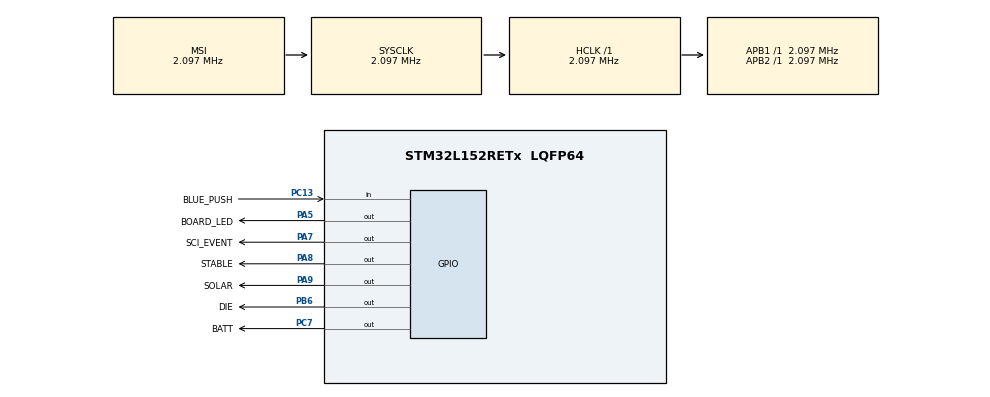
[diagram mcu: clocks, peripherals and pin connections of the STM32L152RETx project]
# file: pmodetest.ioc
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Mcu.Family=STM32L1
Mcu.Name=STM32L152RETx
Mcu.Package=LQFP64
NVIC.PriorityGroup=NVIC_PRIORITYGROUP_4
PA5.GPIO_Label=BOARD_LED
PA5.Signal=GPIO_Output
PA7.GPIO_Label=SCI_EVENT
PA7.Signal=GPIO_Output
PA8.GPIO_Label=STABLE
PA8.Signal=GPIO_Output
PA9.GPIO_Label=SOLAR
PA9.Signal=GPIO_Output
PB6.GPIO_Label=DIE
PB6.Signal=GPIO_Output
PC13-WKUP2.GPIO_Label=BLUE_PUSH
PC13-WKUP2.Signal=GPIO_Input
PC7.GPIO_Label=BATT
PC7.Signal=GPIO_Output
ProjectManager.HeapSize=0x200
ProjectManager.StackSize=0x400
ProjectManager.TargetToolchain=MDK-ARM V5
RCC.AHBFreq_Value=2097000
RCC.APB1Freq_Value=2097000
RCC.APB2Freq_Value=2097000
RCC.HSE_VALUE=24000000
RCC.HSI_VALUE=16000000
RCC.LSE_VALUE=32768
RCC.MSI_VALUE=2097000
RCC.SYSCLKFreq_VALUE=2097000
RCC.VCOOutputFreq_Value=48000000
board=custom

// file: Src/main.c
/* USER CODE BEGIN Header */
/**
  ******************************************************************************
  * @file           : main.c
  * @brief          : Main program body
  ******************************************************************************
  ** This notice applies to any and all portions of this file
  * that are not between comment pairs USER CODE BEGIN and
  * USER CODE END. Other portions of this file, whether
  * inserted by the user or by software development tools
  * are owned by their respective copyright owners.
  *
  * COPYRIGHT(c) 2019 STMicroelectronics
  *
  * Redistribution and use in source and binary forms, with or without modification,
  * are permitted provided that the following conditions are met:
  *   1. Redistributions of source code must retain the above copyright notice,
  *      this list of conditions and the following disclaimer.
  *   2. Redistributions in binary form must reproduce the above copyright notice,
  *      this list of conditions and the following disclaimer in the documentation
  *      and/or other materials provided with the distribution.
  *   3. Neither the name of STMicroelectronics nor the names of its contributors
  *      may be used to endorse or promote products derived from this software
  *      without specific prior written permission.
  *
  * THIS SOFTWARE IS PROVIDED BY THE COPYRIGHT HOLDERS AND CONTRIBUTORS "AS IS"
  * AND ANY EXPRESS OR IMPLIED WARRANTIES, INCLUDING, BUT NOT LIMITED TO, THE
  * IMPLIED WARRANTIES OF MERCHANTABILITY AND FITNESS FOR A PARTICULAR PURPOSE ARE
  * DISCLAIMED. IN NO EVENT SHALL THE COPYRIGHT HOLDER OR CONTRIBUTORS BE LIABLE
  * FOR ANY DIRECT, INDIRECT, INCIDENTAL, SPECIAL, EXEMPLARY, OR CONSEQUENTIAL
  * DAMAGES (INCLUDING, BUT NOT LIMITED TO, PROCUREMENT OF SUBSTITUTE GOODS OR
  * SERVICES; LOSS OF USE, DATA, OR PROFITS; OR BUSINESS INTERRUPTION) HOWEVER
  * CAUSED AND ON ANY THEORY OF LIABILITY, WHETHER IN CONTRACT, STRICT LIABILITY,
  * OR TORT (INCLUDING NEGLIGENCE OR OTHERWISE) ARISING IN ANY WAY OUT OF THE USE
  * OF THIS SOFTWARE, EVEN IF ADVISED OF THE POSSIBILITY OF SUCH DAMAGE.
  *
  ******************************************************************************
  */
/* USER CODE END Header */

#include "main.h"

/* USER CODE BEGIN PD */
#define BUTTON_DOWN 0xFE
#define TEST (2)
/* USER CODE END PD */

/* USER CODE BEGIN PV */
	uint8_t button_states = 0;

//uint16_t push=0;
//uint16_t another =0;
//		uint16_t flag=0;
/* USER CODE END PV */

void SystemClock_Config(void);
static void MX_GPIO_Init(void);
/* USER CODE BEGIN PFP */
void Test1(void);
void BatteryLevelChange(void);

/* USER CODE END PFP */

int main(void)
{

  /* MCU Configuration--------------------------------------------------------*/

  /* Reset of all peripherals, Initializes the Flash interface and the Systick. */
  HAL_Init();

  /* Configure the system clock */
  SystemClock_Config();

  /* Initialize all configured peripherals */
  MX_GPIO_Init();

  /* Infinite loop */
  while (1)
  {

    /* USER CODE BEGIN 3 */
		if (TEST == 1)
		{
			Test1();
		}
		else if (TEST == 2)
		{
			BatteryLevelChange();
		}

  }
  /* USER CODE END 3 */
}

void SystemClock_Config(void)
{
  RCC_OscInitTypeDef RCC_OscInitStruct = {0};
  RCC_ClkInitTypeDef RCC_ClkInitStruct = {0};

  /**Configure the main internal regulator output voltage
  */
  __HAL_PWR_VOLTAGESCALING_CONFIG(PWR_REGULATOR_VOLTAGE_SCALE1);
  /**Initializes the CPU, AHB and APB busses clocks
  */
  RCC_OscInitStruct.OscillatorType = RCC_OSCILLATORTYPE_MSI;
  RCC_OscInitStruct.MSIState = RCC_MSI_ON;
  RCC_OscInitStruct.MSICalibrationValue = 0;
  RCC_OscInitStruct.MSIClockRange = RCC_MSIRANGE_5;
  RCC_OscInitStruct.PLL.PLLState = RCC_PLL_NONE;
  if (HAL_RCC_OscConfig(&RCC_OscInitStruct) != HAL_OK)
  {
    Error_Handler();
  }
  /**Initializes the CPU, AHB and APB busses clocks
  */
  RCC_ClkInitStruct.ClockType = RCC_CLOCKTYPE_HCLK|RCC_CLOCKTYPE_SYSCLK
                              |RCC_CLOCKTYPE_PCLK1|RCC_CLOCKTYPE_PCLK2;
  RCC_ClkInitStruct.SYSCLKSource = RCC_SYSCLKSOURCE_MSI;
  RCC_ClkInitStruct.AHBCLKDivider = RCC_SYSCLK_DIV1;
  RCC_ClkInitStruct.APB1CLKDivider = RCC_HCLK_DIV1;
  RCC_ClkInitStruct.APB2CLKDivider = RCC_HCLK_DIV1;

  if (HAL_RCC_ClockConfig(&RCC_ClkInitStruct, FLASH_LATENCY_0) != HAL_OK)
  {
    Error_Handler();
  }
}

static void MX_GPIO_Init(void)
{
  GPIO_InitTypeDef GPIO_InitStruct = {0};

  /* GPIO Ports Clock Enable */
  __HAL_RCC_GPIOC_CLK_ENABLE();
  __HAL_RCC_GPIOA_CLK_ENABLE();
  __HAL_RCC_GPIOB_CLK_ENABLE();

  /*Configure GPIO pin Output Level */
  HAL_GPIO_WritePin(GPIOA, BOARD_LED_Pin|SCI_EVENT_Pin|STABLE_Pin|SOLAR_Pin, GPIO_PIN_RESET);

  /*Configure GPIO pin Output Level */
  HAL_GPIO_WritePin(BATT_GPIO_Port, BATT_Pin, GPIO_PIN_RESET);

  /*Configure GPIO pin Output Level */
  HAL_GPIO_WritePin(DIE_GPIO_Port, DIE_Pin, GPIO_PIN_RESET);

  /*Configure GPIO pin : BLUE_PUSH_Pin */
  GPIO_InitStruct.Pin = BLUE_PUSH_Pin;
  GPIO_InitStruct.Mode = GPIO_MODE_INPUT;
  GPIO_InitStruct.Pull = GPIO_NOPULL;
  HAL_GPIO_Init(BLUE_PUSH_GPIO_Port, &GPIO_InitStruct);

  /*Configure GPIO pins : BOARD_LED_Pin SCI_EVENT_Pin STABLE_Pin SOLAR_Pin */
  GPIO_InitStruct.Pin = BOARD_LED_Pin|SCI_EVENT_Pin|STABLE_Pin|SOLAR_Pin;
  GPIO_InitStruct.Mode = GPIO_MODE_OUTPUT_PP;
  GPIO_InitStruct.Pull = GPIO_NOPULL;
  GPIO_InitStruct.Speed = GPIO_SPEED_FREQ_LOW;
  HAL_GPIO_Init(GPIOA, &GPIO_InitStruct);

  /*Configure GPIO pin : BATT_Pin */
  GPIO_InitStruct.Pin = BATT_Pin;
  GPIO_InitStruct.Mode = GPIO_MODE_OUTPUT_PP;
  GPIO_InitStruct.Pull = GPIO_NOPULL;
  GPIO_InitStruct.Speed = GPIO_SPEED_FREQ_LOW;
  HAL_GPIO_Init(BATT_GPIO_Port, &GPIO_InitStruct);

  /*Configure GPIO pin : DIE_Pin */
  GPIO_InitStruct.Pin = DIE_Pin;
  GPIO_InitStruct.Mode = GPIO_MODE_OUTPUT_PP;
  GPIO_InitStruct.Pull = GPIO_NOPULL;
  GPIO_InitStruct.Speed = GPIO_SPEED_FREQ_LOW;
  HAL_GPIO_Init(DIE_GPIO_Port, &GPIO_InitStruct);

}

/* USER CODE BEGIN 4 */

void Test1(void)
{
	/*right bit shift button_states variable
		once to save previous state*/
	button_states <<= 1;

	/*store current button state into button_states*/
	button_states |= HAL_GPIO_ReadPin(GPIOC, BLUE_PUSH_Pin);

	/* blue button press indicates start of simulation */
	if (button_states == BUTTON_DOWN)
	{
		HAL_GPIO_TogglePin(GPIOA, BOARD_LED_Pin);
		/*simulate detumble state and set pins at varying
			frequencies except stable*/
		for (int i = 0; i < 100000; i++)
		{
			if (!(i % 900))
			{
				// BATTERY LEVEL CHANGE
				HAL_GPIO_TogglePin(GPIOC, BATT_Pin);
//					HAL_Delay(5);
//					HAL_GPIO_TogglePin(GPIOA, BATT_Pin);
			}
			if (!(i % 1000))
			{
				HAL_GPIO_TogglePin(GPIOA, BOARD_LED_Pin);
				// SCIENCE EVENT PULSE
				HAL_GPIO_TogglePin(GPIOA, GPIO_PIN_7);
//					HAL_Delay(5);
//					HAL_GPIO_TogglePin(GPIOA, SCI_EVENT_Pin);
			}
			if (!(i % 10000))
			{
//					HAL_GPIO_TogglePin(GPIOA, BOARD_LED_Pin);
				// SOLAR VECTOR PULSE
				HAL_GPIO_TogglePin(GPIOA, SOLAR_Pin);
//					HAL_Delay(5);
//					HAL_GPIO_TogglePin(GPIOA, SOLAR_Pin);
			}
		}

		/*we have successfully stabilized at this point*/
		// SEND STABLE SIGNAL
		HAL_GPIO_TogglePin(GPIOA, STABLE_Pin);
		HAL_Delay(100);
		HAL_GPIO_TogglePin(GPIOA, STABLE_Pin);

		HAL_Delay(100);

		HAL_GPIO_TogglePin(GPIOA, STABLE_Pin);
		HAL_Delay(100);
		HAL_GPIO_TogglePin(GPIOA, STABLE_Pin);
		HAL_Delay(100);

		HAL_GPIO_TogglePin(GPIOA, STABLE_Pin);
		HAL_Delay(100);
		HAL_GPIO_TogglePin(GPIOA, STABLE_Pin);
		HAL_Delay(100);

		HAL_GPIO_TogglePin(GPIOA, STABLE_Pin);
		HAL_Delay(100);
		HAL_GPIO_TogglePin(GPIOA, STABLE_Pin);
	}
}

void BatteryLevelChange(void)
{
	// D > LP > > ULP > LP > ULP > LP > N > K

	/* right bit shift button_states variable
	 * once to save previous state */
	button_states <<= 1;

	/*store current button state into button_states*/
	button_states |= HAL_GPIO_ReadPin(GPIOC, BLUE_PUSH_Pin);

	/* blue button press indicates start of simulation */
	if (button_states == BUTTON_DOWN)
	{
		// Turn on MCU LED
		HAL_GPIO_TogglePin(GPIOA, BOARD_LED_Pin);

		// Stable interrupt
		for (int i = 0; i < 2; i++)
		{
			HAL_GPIO_TogglePin(GPIOA, STABLE_Pin);
			HAL_Delay(100);
			HAL_GPIO_TogglePin(GPIOA, STABLE_Pin);
			HAL_Delay(100);
		}

		// Battery Interrupt... 100 interrupts to go from 100% to 1%
		for (int i = 100; i > 1; i--)
		{
			HAL_GPIO_TogglePin(GPIOC, BATT_Pin);
			HAL_Delay(50);
		}

		// Battery Interrupt... 100 interrupts to go from 1% to 100%
		for (int i = 0; i < 100; i++)
		{
			HAL_GPIO_TogglePin(GPIOC, BATT_Pin);
			HAL_Delay(50);
		}
		HAL_GPIO_TogglePin(GPIOC, BATT_Pin);

		// Send the kill signal
		for (int i = 0; i < 5; i++)
		{
			HAL_GPIO_TogglePin(GPIOB, DIE_Pin);
			HAL_Delay(50);
			HAL_GPIO_TogglePin(GPIOB, DIE_Pin);
			HAL_Delay(50);
		}
		// Test End
		return;
	}

}
/* USER CODE END 4 */

void Error_Handler(void)
{
}

/************************ (C) COPYRIGHT STMicroelectronics *****END OF FILE****/
